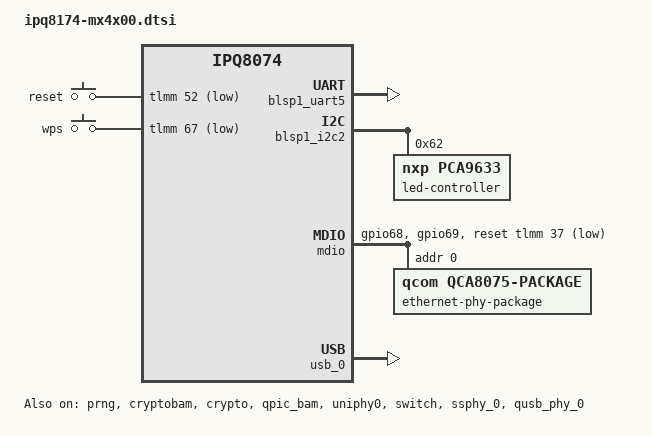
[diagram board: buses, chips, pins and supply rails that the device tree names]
// SPDX-License-Identifier: GPL-2.0-or-later OR MIT
/* Copyright (c) 2023, Mohammad Sayful Islam <Sayf.mohammad01@gmail.com> */

#include "ipq8074.dtsi"
#include "ipq8074-ac-cpu.dtsi"
#include "ipq8074-ess.dtsi"
#include <dt-bindings/gpio/gpio.h>
#include <dt-bindings/input/input.h>
#include <dt-bindings/leds/common.h>

/ {
	aliases {
		serial0 = &blsp1_uart5;
		serial1 = &blsp1_uart3;
		led-boot = &led_system_blue;
		led-running = &led_system_blue;
		led-failsafe = &led_system_red;
		led-upgrade = &led_system_green;
	};

	chosen {
		stdout-path = "serial0:115200n8";
	};

	keys {
		compatible = "gpio-keys";
		pinctrl-0 = <&button_pins>;
		pinctrl-names = "default";

		reset-button {
			label = "reset";
			gpios = <&tlmm 52 GPIO_ACTIVE_LOW>;
			linux,code = <KEY_RESTART>;
		};

		wps-button {
			label = "wps";
			gpios = <&tlmm 67 GPIO_ACTIVE_LOW>;
			linux,code = <KEY_WPS_BUTTON>;
		};
	};
};

&tlmm {
	button_pins: button-state {
		pins = "gpio52", "gpio67";
		function = "gpio";
		drive-strength = <8>;
		bias-pull-up;
	};

	mdio_pins: mdio-state {
		mdc-pins {
			pins = "gpio68";
			function = "mdc";
			drive-strength = <8>;
			bias-pull-up;
		};

		mdio-pins {
			pins = "gpio69";
			function = "mdio";
			drive-strength = <8>;
			bias-pull-up;
		};
	};
};

&blsp1_uart5 {
	status = "okay";
};

&prng {
	status = "okay";
};

&cryptobam {
	status = "okay";
};

&crypto {
	status = "okay";
};

&qpic_bam {
	status = "okay";
};

&blsp1_i2c2 {
	status = "okay";

	led-controller@62 {
		compatible = "nxp,pca9633";
		#address-cells = <1>;
		#size-cells = <0>;
		reg = <0x62>;
		nxp,hw-blink;

		led_system_red: led@0 {
			reg = <0>;
			color = <LED_COLOR_ID_RED>;
			function = LED_FUNCTION_STATUS;
		};

		led_system_green: led@1 {
			reg = <1>;
			color = <LED_COLOR_ID_GREEN>;
			function = LED_FUNCTION_STATUS;
		};

		led_system_blue: led@2 {
			reg = <2>;
			color = <LED_COLOR_ID_BLUE>;
			function = LED_FUNCTION_STATUS;
		};
	};
};

&mdio {
	status = "okay";

	pinctrl-0 = <&mdio_pins>;
	pinctrl-names = "default";
	reset-gpios = <&tlmm 37 GPIO_ACTIVE_LOW>;

	ethernet-phy-package@0 {
		#address-cells = <1>;
		#size-cells = <0>;
		compatible = "qcom,qca8075-package";
		reg = <0>;

		qca8075_1: ethernet-phy@1 {
			compatible = "ethernet-phy-ieee802.3-c22";
			reg = <1>;
		};

		qca8075_2: ethernet-phy@2 {
			compatible = "ethernet-phy-ieee802.3-c22";
			reg = <2>;
		};

		qca8075_3: ethernet-phy@3 {
			compatible = "ethernet-phy-ieee802.3-c22";
			reg = <3>;
		};

		qca8075_4: ethernet-phy@4 {
			compatible = "ethernet-phy-ieee802.3-c22";
			reg = <4>;
		};
	};
};

&uniphy0 {
	status = "okay";
};

&switch {
	status = "okay";

	ports {
		#address-cells = <1>;
		#size-cells = <0>;

		port@0 {
			reg = <0>;
			ethernet = <&edma>;
			phy-mode = "internal";

			fixed-link {
				speed = <1000>;
				full-duplex;
			};
		};

		swport2: port@2 {
			reg = <2>;
			phy-handle = <&qca8075_1>;
			phy-mode = "psgmii";
			pcs-handle = <&uniphy0 1>;
		};

		swport3: port@3 {
			reg = <3>;
			phy-handle = <&qca8075_2>;
			phy-mode = "psgmii";
			pcs-handle = <&uniphy0 2>;
		};

		swport4: port@4 {
			reg = <4>;
			phy-handle = <&qca8075_3>;
			phy-mode = "psgmii";
			pcs-handle = <&uniphy0 3>;
		};

		swport5: port@5 {
			reg = <5>;
			phy-handle = <&qca8075_4>;
			phy-mode = "psgmii";
			pcs-handle = <&uniphy0 4>;
		};
	};
};

&edma {
	status = "okay";
};

&ssphy_0 {
	status = "okay";
};

&qusb_phy_0 {
	status = "okay";
};

&usb_0 {
	status = "okay";
};
